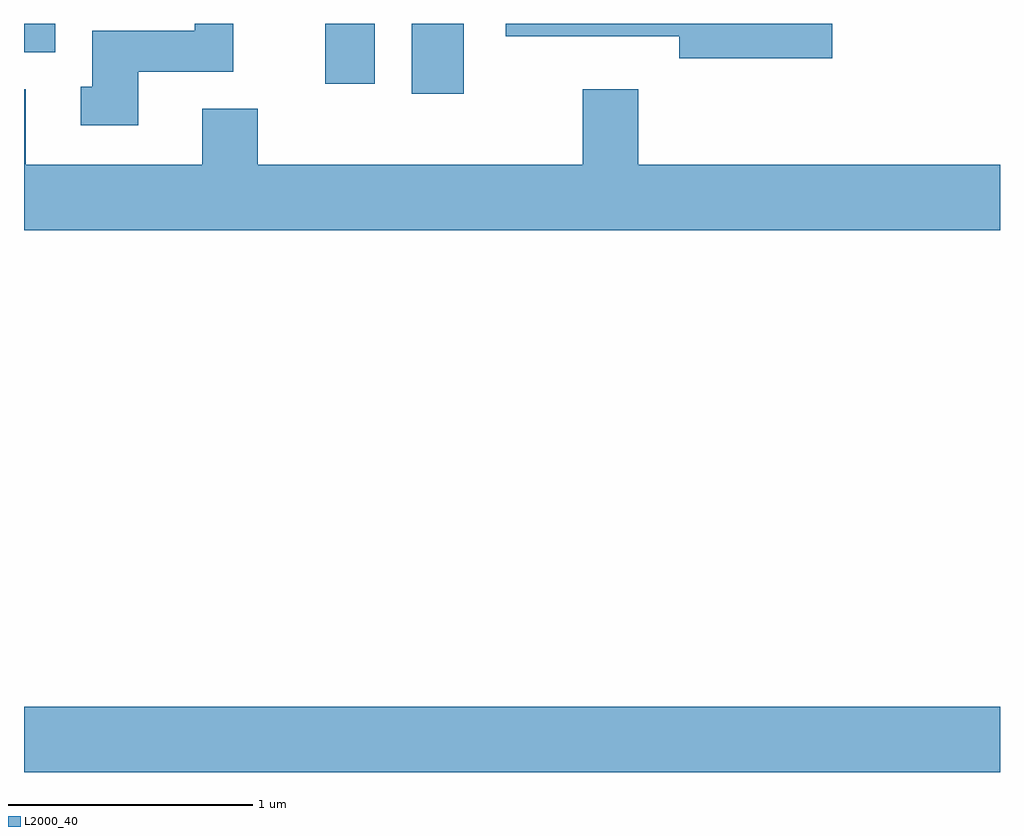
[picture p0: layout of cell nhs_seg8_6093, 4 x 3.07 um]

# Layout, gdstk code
import gdstk
lib = gdstk.Library(unit=1e-6, precision=1e-09)
def R(c, l, rs):  # rectangles x0, y0, x1, y1
    for r in rs: c.add(gdstk.rectangle(r[:2], r[2:], *l))
def P(c, l, *ps):  # polygons
    for p in ps: c.add(gdstk.Polygon(p, *l))
L2000_40 = (2000, 40)

nhs_seg8_6093 = lib.new_cell('nhs_seg8_6093')
R(nhs_seg8_6093, L2000_40, [(367.611,1865.276,371.611,1865.544), (369.201,1868.056,369.414,1868.342), (368.846,1868.096,369.049,1868.342), (367.611,1868.226,367.739,1868.342)])
P(nhs_seg8_6093, L2000_40, [(370.924,1868.342),(369.586,1868.342),(369.586,1868.291),(370.296,1868.291),(370.296,1868.201),(370.924,1868.201)],
  [(368.079,1868.146),(368.469,1868.146),(368.469,1868.342),(368.311,1868.342),(368.311,1868.314),(367.891,1868.314),(367.891,1868.084),(367.843,1868.084),(367.843,1867.926),(368.079,1867.926)],
  [(371.611,1867.764),(370.129,1867.764),(370.129,1868.074),(369.901,1868.074),(369.901,1867.764),(368.569,1867.764),(368.569,1867.994),(368.341,1867.994),(368.341,1867.764),(367.619,1867.764),(367.619,1868.074),(367.611,1868.074),(367.611,1867.496),(371.611,1867.496)])

lib.write_gds('nhs_seg8_6093.gds')
